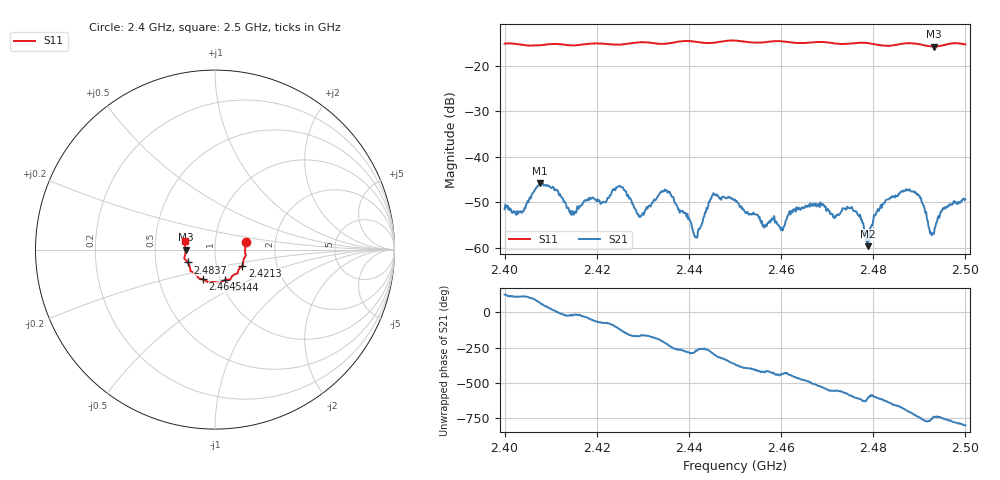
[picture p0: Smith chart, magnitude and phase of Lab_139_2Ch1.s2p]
# Hz S RI R 50
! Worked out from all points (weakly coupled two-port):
!   601 points, 2.4 GHz to 2.5 GHz, reference 50 ohm
!   highest |S21| = -45.79 dB at 2.4077 GHz (marker M1); lowest = -59.6 dB at 2.4788 GHz (marker M2)
!   lowest |S11| = -15.7 dB at 2.4932 GHz (marker M3), VSWR 1.39, Z = 36 - j0.0463 ohm
!   |S11| at or under -10 dB: start of sweep to end of sweep
!   S12 and S22 are empty: the file has one direction only
!   S11 on the Smith chart (normalised r, x): 2.4 GHz: 1.41, +0.12; 2.4213 GHz: 1.33, -0.25; 2.444 GHz: 1.06, -0.37; 2.4645 GHz: 0.83, -0.29; 2.4837 GHz: 0.73, -0.11; 2.5 GHz: 0.71, +0.07
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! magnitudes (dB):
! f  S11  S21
! 2.4 GHz  -15.1  -51.5
! 2.4037 GHz  -15.3  -52.2
! 2.4077 GHz  -15.4  -45.8
! 2.4167 GHz  -15.3  -50.5
! 2.4213 GHz  -15.1  -49.9
! 2.4252 GHz  -15.3  -46.5
! 2.4297 GHz  -14.8  -52.9
! 2.4333 GHz  -15.1  -48.5
! 2.436 GHz  -15.0  -48.2
! 2.4413 GHz  -14.7  -57.7
! 2.444 GHz  -15.0  -51.5
! 2.45 GHz  -14.4  -49.4
! 2.46 GHz  -14.6  -56.1
! 2.4645 GHz  -15.0  -51.2
! 2.4667 GHz  -14.8  -50.8
! 2.4757 GHz  -15.0  -51.8
! 2.4788 GHz  -15.0  -59.6
! 2.4833 GHz  -15.6  -49.3
! 2.4837 GHz  -15.5  -49.0
! 2.4893 GHz  -15.1  -48.0
! 2.4932 GHz  -15.7  -56.9
! 2.5 GHz  -15.2  -49.3
